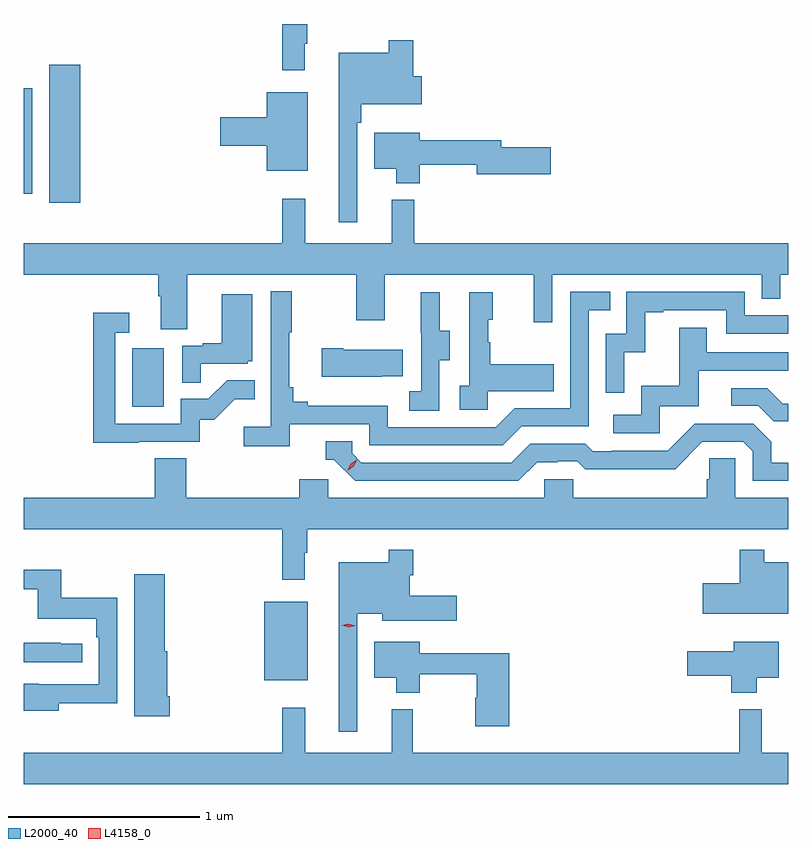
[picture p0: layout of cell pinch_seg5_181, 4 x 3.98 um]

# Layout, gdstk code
import gdstk
lib = gdstk.Library(unit=1e-6, precision=1e-09)
def R(c, l, rs):  # rectangles x0, y0, x1, y1
    for r in rs: c.add(gdstk.rectangle(r[:2], r[2:], *l))
def P(c, l, *ps):  # polygons
    for p in ps: c.add(gdstk.Polygon(p, *l))
L2000_40 = (2000, 40)
L4158_0 = (4158, 0)

pinch_seg5_181 = lib.new_cell('pinch_seg5_181')
R(pinch_seg5_181, L2000_40, [(1129.268,875.951,1129.495,876.361), (1128.578,877.38,1128.742,877.687), (1128.143,878.448,1128.304,879.169), (1128.009,878.494,1128.054,879.046)])
P(pinch_seg5_181, L2000_40, [(1129.48,879.281),(1129.492,879.281),(1129.492,879.383),(1129.363,879.383),(1129.363,879.141),(1129.48,879.141)],
  [(1129.755,878.867),(1129.775,878.867),(1129.775,878.963),(1130.092,878.963),(1130.092,879.111),(1130.048,879.111),(1130.048,879.298),(1129.92,879.298),(1129.92,879.232),(1129.658,879.232),(1129.658,878.346),(1129.755,878.346)],
  [(1129.495,879.025),(1129.28,879.025),(1129.28,878.894),(1129.038,878.894),(1129.038,878.747),(1129.28,878.747),(1129.28,878.615),(1129.495,878.615)],
  [(1130.08,878.646),(1130.378,878.646),(1130.378,878.596),(1130.767,878.596),(1130.767,878.738),(1130.506,878.738),(1130.506,878.774),(1130.08,878.774),(1130.08,878.815),(1129.844,878.815),(1129.844,878.627),(1129.958,878.627),(1129.958,878.549),(1130.08,878.549)],
  [(1128.865,878.072),(1129.75,878.072),(1129.75,877.833),(1129.897,877.833),(1129.897,878.072),(1130.678,878.072),(1130.678,877.824),(1130.775,877.824),(1130.775,878.072),(1131.87,878.072),(1131.87,877.945),(1131.966,877.945),(1131.966,878.072),(1132.009,878.072),(1132.009,878.236),(1130.051,878.236),(1130.051,878.464),(1129.934,878.464),(1129.934,878.236),(1129.481,878.236),(1129.481,878.47),(1129.363,878.47),(1129.363,878.236),(1128.009,878.236),(1128.009,878.072),(1128.713,878.072),(1128.713,877.96),(1128.725,877.96),(1128.725,877.786),(1128.865,877.786)],
  [(1129.4,877.29),(1129.818,877.29),(1129.818,877.179),(1130.515,877.179),(1130.614,877.278),(1130.964,877.278),(1130.964,877.887),(1131.077,877.887),(1131.077,877.983),(1130.868,877.983),(1130.868,877.374),(1130.577,877.374),(1130.478,877.275),(1129.914,877.275),(1129.914,877.387),(1129.495,877.387),(1129.495,877.406),(1129.418,877.406),(1129.418,877.483),(1129.399,877.483),(1129.399,877.771),(1129.411,877.771),(1129.411,877.984),(1129.302,877.984),(1129.302,877.276),(1129.161,877.276),(1129.161,877.174),(1129.4,877.174)],
  [(1131.15,877.667),(1131.26,877.667),(1131.26,877.875),(1131.355,877.875),(1131.355,877.887),(1131.684,877.887),(1131.684,877.764),(1132.009,877.764),(1132.009,877.86),(1131.78,877.86),(1131.78,877.983),(1131.162,877.983),(1131.162,877.764),(1131.054,877.764),(1131.054,877.455),(1131.15,877.455)],
  [(1130.436,877.463),(1130.783,877.463),(1130.783,877.603),(1130.449,877.603),(1130.449,877.718),(1130.439,877.718),(1130.439,877.836),(1130.464,877.836),(1130.464,877.981),(1130.34,877.981),(1130.34,877.49),(1130.289,877.49),(1130.289,877.365),(1130.436,877.365)],
  [(1130.184,877.624),(1130.239,877.624),(1130.239,877.779),(1130.185,877.779),(1130.185,877.981),(1130.087,877.981),(1130.087,877.767),(1130.088,877.767),(1130.088,877.463),(1130.025,877.463),(1130.025,877.36),(1130.184,877.36)],
  [(1128.935,877.605),(1129.182,877.605),(1129.182,877.62),(1129.204,877.62),(1129.204,877.969),(1129.046,877.969),(1129.046,877.714),(1128.947,877.714),(1128.947,877.701),(1128.84,877.701),(1128.84,877.507),(1128.935,877.507)],
  [(1128.611,877.197),(1128.93,877.197),(1128.93,877.314),(1129.006,877.314),(1129.113,877.421),(1129.217,877.421),(1129.217,877.52),(1129.073,877.52),(1128.975,877.422),(1128.831,877.422),(1128.831,877.293),(1128.489,877.293),(1128.489,877.767),(1128.562,877.767),(1128.562,877.873),(1128.373,877.873),(1128.373,877.192),(1128.611,877.192)],
  [(1131.336,877.383),(1131.541,877.383),(1131.541,877.569),(1132.009,877.569),(1132.009,877.665),(1131.583,877.665),(1131.583,877.795),(1131.439,877.795),(1131.439,877.492),(1131.24,877.492),(1131.24,877.338),(1131.093,877.338),(1131.093,877.242),(1131.336,877.242)],
  [(1129.883,877.541),(1129.991,877.541),(1129.991,877.678),(1129.681,877.678),(1129.681,877.686),(1129.569,877.686),(1129.569,877.538),(1129.883,877.538)],
  [(1132.009,877.398),(1131.979,877.398),(1131.898,877.479),(1131.711,877.479),(1131.711,877.386),(1131.852,877.386),(1131.932,877.306),(1132.009,877.306)],
  [(1130.695,877.092),(1130.802,877.092),(1130.802,877.095),(1130.905,877.095),(1130.947,877.053),(1131.18,877.053),(1131.18,877.055),(1131.416,877.055),(1131.558,877.197),(1131.774,877.197),(1131.822,877.149),(1131.822,876.993),(1132.009,876.993),(1132.009,877.089),(1131.919,877.089),(1131.919,877.199),(1131.825,877.293),(1131.519,877.293),(1131.378,877.152),(1131.085,877.152),(1131.085,877.149),(1130.986,877.149),(1130.947,877.188),(1130.658,877.188),(1130.559,877.089),(1129.776,877.089),(1129.728,877.137),(1129.728,877.2),(1129.589,877.2),(1129.589,877.104),(1129.632,877.104),(1129.743,876.993),(1130.596,876.993)],
  [(1129.48,876.617),(1129.492,876.617),(1129.492,876.74),(1132.009,876.74),(1132.009,876.904),(1131.732,876.904),(1131.732,877.112),(1131.595,877.112),(1131.595,877.002),(1131.581,877.002),(1131.581,876.904),(1130.883,876.904),(1130.883,877.002),(1130.733,877.002),(1130.733,876.904),(1129.602,876.904),(1129.602,877.002),(1129.451,877.002),(1129.451,876.904),(1128.86,876.904),(1128.86,877.112),(1128.695,877.112),(1128.695,876.904),(1128.009,876.904),(1128.009,876.74),(1129.363,876.74),(1129.363,876.477),(1129.48,876.477)],
  [(1129.755,876.299),(1129.886,876.299),(1129.886,876.263),(1130.275,876.263),(1130.275,876.393),(1130.029,876.393),(1130.029,876.501),(1130.048,876.501),(1130.048,876.634),(1129.92,876.634),(1129.92,876.568),(1129.658,876.568),(1129.658,875.682),(1129.755,875.682)],
  [(1132.009,876.568),(1131.883,876.568),(1131.883,876.634),(1131.754,876.634),(1131.754,876.457),(1131.561,876.457),(1131.561,876.299),(1132.009,876.299)],
  [(1128.193,875.83),(1128.498,875.83),(1128.498,876.382),(1128.205,876.382),(1128.205,876.528),(1128.009,876.528),(1128.009,876.427),(1128.084,876.427),(1128.084,876.272),(1128.389,876.272),(1128.389,876.176),(1128.402,876.176),(1128.402,875.931),(1128.089,875.931),(1128.089,875.932),(1128.009,875.932),(1128.009,875.792),(1128.193,875.792)],
  [(1128.773,875.866),(1128.76,875.866),(1128.76,876.102),(1128.748,876.102),(1128.748,876.505),(1128.587,876.505),(1128.587,875.762),(1128.773,875.762)],
  [(1131.844,875.963),(1131.958,875.963),(1131.958,876.151),(1131.722,876.151),(1131.722,876.103),(1131.48,876.103),(1131.48,875.974),(1131.71,875.974),(1131.71,875.885),(1131.844,875.885)],
  [(1130.549,876.091),(1130.08,876.091),(1130.08,876.151),(1129.844,876.151),(1129.844,875.963),(1129.958,875.963),(1129.958,875.885),(1130.08,875.885),(1130.08,875.982),(1130.378,875.982),(1130.378,875.859),(1130.371,875.859),(1130.371,875.709),(1130.549,875.709)],
  [(1128.316,876.141),(1128.203,876.141),(1128.203,876.146),(1128.009,876.146),(1128.009,876.045),(1128.316,876.045)],
  [(1132.009,875.572),(1131.869,875.572),(1131.869,875.8),(1131.751,875.8),(1131.751,875.572),(1130.044,875.572),(1130.044,875.8),(1129.934,875.8),(1129.934,875.572),(1129.481,875.572),(1129.481,875.806),(1129.363,875.806),(1129.363,875.572),(1128.009,875.572),(1128.009,875.408),(1132.009,875.408)])
P(pinch_seg5_181, L4158_0, [(1129.705,877.05),(1129.705,877.05),(1129.721,877.083),(1129.752,877.103),(1129.752,877.103),(1129.752,877.103),(1129.736,877.07),(1129.706,877.05)],
  [(1129.709,876.227),(1129.674,876.238),(1129.674,876.238),(1129.674,876.239),(1129.71,876.247),(1129.744,876.236),(1129.745,876.235),(1129.744,876.235)])

lib.write_gds('pinch_seg5_181.gds')
